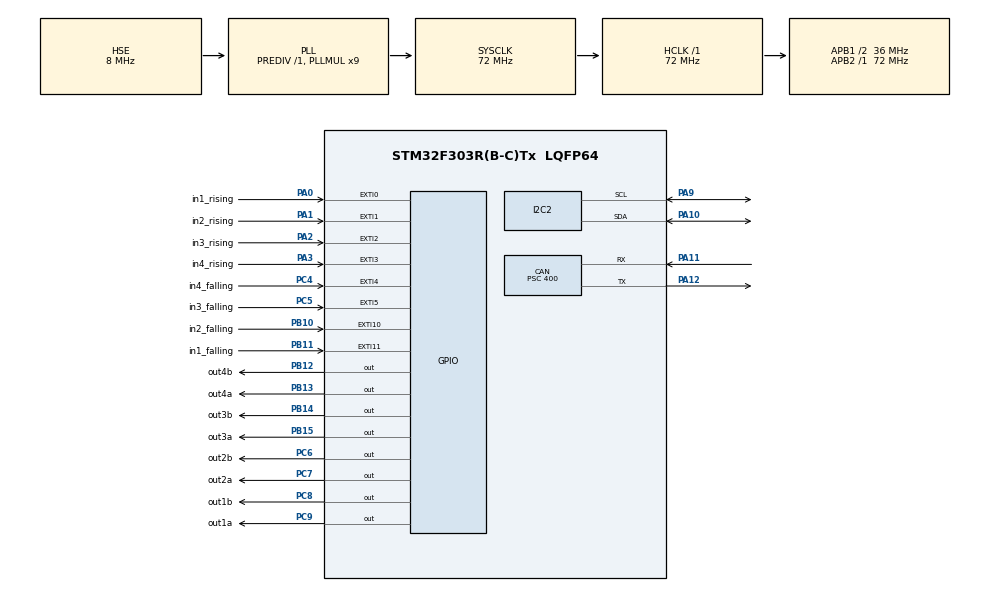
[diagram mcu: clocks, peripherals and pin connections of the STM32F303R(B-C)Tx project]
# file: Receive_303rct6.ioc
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CAN.BS1=CAN_BS1_12TQ
CAN.BS2=CAN_BS2_5TQ
CAN.CalculateTimeQuantum=11111.111111111111
CAN.Prescaler=400
Mcu.Family=STM32F3
Mcu.Name=STM32F303R(B-C)Tx
Mcu.Package=LQFP64
NVIC.EXTI0_IRQn=true\:2\:0\:true\:false\:true\:true
NVIC.EXTI15_10_IRQn=true\:2\:0\:true\:false\:true\:true
NVIC.EXTI1_IRQn=true\:2\:0\:true\:false\:true\:true
NVIC.EXTI2_TSC_IRQn=true\:2\:0\:true\:false\:true\:true
NVIC.EXTI3_IRQn=true\:2\:0\:true\:false\:true\:true
NVIC.EXTI4_IRQn=true\:2\:0\:true\:false\:true\:true
NVIC.EXTI9_5_IRQn=true\:2\:0\:true\:false\:true\:true
NVIC.PriorityGroup=NVIC_PRIORITYGROUP_4
NVIC.TIM1_UP_TIM16_IRQn=true\:1\:0\:true\:false\:true\:true
NVIC.TIM2_IRQn=true\:1\:0\:true\:false\:true\:true
NVIC.USB_LP_CAN_RX0_IRQn=true\:0\:0\:true\:false\:true\:true
PA0.GPIO_Label=in1_rising
PA0.GPIO_ModeDefaultEXTI=GPIO_MODE_IT_RISING
PA0.GPIO_PuPd=GPIO_PULLDOWN
PA0.Signal=GPXTI0
PA1.GPIO_Label=in2_rising
PA1.GPIO_ModeDefaultEXTI=GPIO_MODE_IT_RISING
PA1.GPIO_PuPd=GPIO_PULLDOWN
PA1.Signal=GPXTI1
PA10.Mode=I2C
PA10.Signal=I2C2_SDA
PA11.Mode=Master
PA11.Signal=CAN_RX
PA12.Mode=Master
PA12.Signal=CAN_TX
PA13.Mode=Serial_Wire
PA13.Signal=SYS_JTMS-SWDIO
PA14.Mode=Serial_Wire
PA14.Signal=SYS_JTCK-SWCLK
PA2.GPIO_Label=in3_rising
PA2.GPIO_ModeDefaultEXTI=GPIO_MODE_IT_RISING
PA2.GPIO_PuPd=GPIO_PULLDOWN
PA2.Signal=GPXTI2
PA3.GPIO_Label=in4_rising
PA3.GPIO_ModeDefaultEXTI=GPIO_MODE_IT_RISING
PA3.GPIO_PuPd=GPIO_PULLDOWN
PA3.Signal=GPXTI3
PA9.Mode=I2C
PA9.Signal=I2C2_SCL
PB10.GPIO_Label=in2_falling
PB10.GPIO_ModeDefaultEXTI=GPIO_MODE_IT_FALLING
PB10.Signal=GPXTI10
PB11.GPIO_Label=in1_falling
PB11.GPIO_ModeDefaultEXTI=GPIO_MODE_IT_FALLING
PB11.Signal=GPXTI11
PB12.GPIO_Label=out4b
PB12.GPIO_ModeDefaultOutputPP=GPIO_MODE_OUTPUT_PP
PB12.GPIO_PuPd=GPIO_NOPULL
PB12.GPIO_Speed=GPIO_SPEED_FREQ_HIGH
PB12.PinState=GPIO_PIN_SET
PB12.Signal=GPIO_Output
PB13.GPIO_Label=out4a
PB13.GPIO_ModeDefaultOutputPP=GPIO_MODE_OUTPUT_PP
PB13.GPIO_PuPd=GPIO_NOPULL
PB13.GPIO_Speed=GPIO_SPEED_FREQ_HIGH
PB13.PinState=GPIO_PIN_SET
PB13.Signal=GPIO_Output
PB14.GPIO_Label=out3b
PB14.GPIO_ModeDefaultOutputPP=GPIO_MODE_OUTPUT_PP
PB14.GPIO_PuPd=GPIO_NOPULL
PB14.GPIO_Speed=GPIO_SPEED_FREQ_HIGH
PB14.PinState=GPIO_PIN_SET
PB14.Signal=GPIO_Output
PB15.GPIO_Label=out3a
PB15.GPIO_ModeDefaultOutputPP=GPIO_MODE_OUTPUT_PP
PB15.GPIO_PuPd=GPIO_NOPULL
PB15.GPIO_Speed=GPIO_SPEED_FREQ_HIGH
PB15.PinState=GPIO_PIN_SET
PB15.Signal=GPIO_Output
PC4.GPIO_Label=in4_falling
PC4.GPIO_ModeDefaultEXTI=GPIO_MODE_IT_FALLING
PC4.Signal=GPXTI4
PC5.GPIO_Label=in3_falling
PC5.GPIO_ModeDefaultEXTI=GPIO_MODE_IT_FALLING
PC5.Signal=GPXTI5
PC6.GPIO_Label=out2b
PC6.GPIO_ModeDefaultOutputPP=GPIO_MODE_OUTPUT_PP
PC6.GPIO_PuPd=GPIO_NOPULL
PC6.GPIO_Speed=GPIO_SPEED_FREQ_HIGH
PC6.PinState=GPIO_PIN_SET
PC6.Signal=GPIO_Output
PC7.GPIO_Label=out2a
PC7.GPIO_ModeDefaultOutputPP=GPIO_MODE_OUTPUT_PP
PC7.GPIO_PuPd=GPIO_NOPULL
PC7.GPIO_Speed=GPIO_SPEED_FREQ_HIGH
PC7.PinState=GPIO_PIN_SET
PC7.Signal=GPIO_Output
PC8.GPIO_Label=out1b
PC8.GPIO_ModeDefaultOutputPP=GPIO_MODE_OUTPUT_PP
PC8.GPIO_PuPd=GPIO_NOPULL
PC8.GPIO_Speed=GPIO_SPEED_FREQ_HIGH
PC8.PinState=GPIO_PIN_SET
PC8.Signal=GPIO_Output
PC9.GPIO_Label=out1a
PC9.GPIO_ModeDefaultOutputPP=GPIO_MODE_OUTPUT_PP
PC9.GPIO_PuPd=GPIO_NOPULL
PC9.GPIO_Speed=GPIO_SPEED_FREQ_HIGH
PC9.PinState=GPIO_PIN_SET
PC9.Signal=GPIO_Output
PF0-OSC_IN.Mode=HSE-External-Oscillator
PF0-OSC_IN.Signal=RCC_OSC_IN
PF1-OSC_OUT.Mode=HSE-External-Oscillator
PF1-OSC_OUT.Signal=RCC_OSC_OUT
ProjectManager.HeapSize=0x200
ProjectManager.StackSize=0x400
ProjectManager.TargetToolchain=MDK-ARM V5
RCC.AHBFreq_Value=72000000
RCC.APB1CLKDivider=RCC_HCLK_DIV2
RCC.APB1Freq_Value=36000000
RCC.APB1TimFreq_Value=72000000
RCC.APB2Freq_Value=72000000
RCC.APB2TimFreq_Value=72000000
RCC.CortexFreq_Value=72000000
RCC.HCLKFreq_Value=72000000
RCC.HSE_VALUE=8000000
RCC.HSI_VALUE=8000000
RCC.LSE_VALUE=32768
RCC.PLLMUL=RCC_PLL_MUL9
RCC.PLLSourceVirtual=RCC_PLLSOURCE_HSE
RCC.SYSCLKFreq_VALUE=72000000
RCC.SYSCLKSourceVirtual=RCC_SYSCLKSOURCE_PLLCLK
RCC.USBFreq_Value=72000000
TIM1.Period=79
TIM1.Prescaler=8
TIM2.Period=79
TIM2.Prescaler=8
VP_TIM1_VS_ClockSourceINT.Mode=Internal
VP_TIM2_VS_ClockSourceINT.Mode=Internal
board=Receive_303rct6

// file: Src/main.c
/**
  ******************************************************************************
  * @file           : main.c
  * @brief          : Main program body
  ******************************************************************************
  ** This notice applies to any and all portions of this file
  * that are not between comment pairs USER CODE BEGIN and
  * USER CODE END. Other portions of this file, whether
  * inserted by the user or by software development tools
  * are owned by their respective copyright owners.
  *
  * COPYRIGHT(c) 2019 STMicroelectronics
  *
  * Redistribution and use in source and binary forms, with or without modification,
  * are permitted provided that the following conditions are met:
  *   1. Redistributions of source code must retain the above copyright notice,
  *      this list of conditions and the following disclaimer.
  *   2. Redistributions in binary form must reproduce the above copyright notice,
  *      this list of conditions and the following disclaimer in the documentation
  *      and/or other materials provided with the distribution.
  *   3. Neither the name of STMicroelectronics nor the names of its contributors
  *      may be used to endorse or promote products derived from this software
  *      without specific prior written permission.
  *
  * THIS SOFTWARE IS PROVIDED BY THE COPYRIGHT HOLDERS AND CONTRIBUTORS "AS IS"
  * AND ANY EXPRESS OR IMPLIED WARRANTIES, INCLUDING, BUT NOT LIMITED TO, THE
  * IMPLIED WARRANTIES OF MERCHANTABILITY AND FITNESS FOR A PARTICULAR PURPOSE ARE
  * DISCLAIMED. IN NO EVENT SHALL THE COPYRIGHT HOLDER OR CONTRIBUTORS BE LIABLE
  * FOR ANY DIRECT, INDIRECT, INCIDENTAL, SPECIAL, EXEMPLARY, OR CONSEQUENTIAL
  * DAMAGES (INCLUDING, BUT NOT LIMITED TO, PROCUREMENT OF SUBSTITUTE GOODS OR
  * SERVICES; LOSS OF USE, DATA, OR PROFITS; OR BUSINESS INTERRUPTION) HOWEVER
  * CAUSED AND ON ANY THEORY OF LIABILITY, WHETHER IN CONTRACT, STRICT LIABILITY,
  * OR TORT (INCLUDING NEGLIGENCE OR OTHERWISE) ARISING IN ANY WAY OUT OF THE USE
  * OF THIS SOFTWARE, EVEN IF ADVISED OF THE POSSIBILITY OF SUCH DAMAGE.
  *
  ******************************************************************************
  */
#include "main.h"
#include "stm32f3xx_hal.h"

/* USER CODE BEGIN Includes */
#include "variable.h"

/* USER CODE END Includes */

CAN_HandleTypeDef hcan;

I2C_HandleTypeDef hi2c2;

TIM_HandleTypeDef htim1;
TIM_HandleTypeDef htim2;

/* USER CODE BEGIN PV */
/* Private variables ---------------------------------------------------------*/

/* USER CODE END PV */

void SystemClock_Config(void);
static void MX_GPIO_Init(void);
static void MX_CAN_Init(void);
static void MX_TIM1_Init(void);
static void MX_TIM2_Init(void);
static void MX_I2C2_Init(void);

/* USER CODE BEGIN PFP */
/* Private function prototypes -----------------------------------------------*/
static void CAN_FilterConfig(void);
/* USER CODE END PFP */

int main(void)
{

  /* MCU Configuration----------------------------------------------------------*/

  /* Reset of all peripherals, Initializes the Flash interface and the Systick. */
  HAL_Init();

  /* Configure the system clock */
  SystemClock_Config();

  /* Initialize all configured peripherals */
  MX_GPIO_Init();
  MX_CAN_Init();
  MX_TIM1_Init();
  MX_TIM2_Init();
  MX_I2C2_Init();
  /* USER CODE BEGIN 2 */
	hcan.pTxMsg = &CanTx;
	hcan.pTxMsg->RTR = CAN_RTR_DATA;
	hcan.pTxMsg->IDE = CAN_ID_STD;
  hcan.pRxMsg = &CanRx;

  CAN_FilterConfig();
  if (HAL_CAN_Receive_IT(&hcan, CAN_FIFO0) != HAL_OK)
  {
    Error_Handler();
  }
  HAL_NVIC_DisableIRQ(in1_falling_EXTI_IRQn);
  HAL_NVIC_DisableIRQ(in1_rising_EXTI_IRQn);
  HAL_NVIC_DisableIRQ(in2_falling_EXTI_IRQn);
  HAL_NVIC_DisableIRQ(in2_rising_EXTI_IRQn);
  HAL_NVIC_DisableIRQ(in3_falling_EXTI_IRQn);
  HAL_NVIC_DisableIRQ(in3_rising_EXTI_IRQn);
  HAL_NVIC_DisableIRQ(in4_falling_EXTI_IRQn);
  HAL_NVIC_DisableIRQ(in4_rising_EXTI_IRQn);

	//Get Parameter from EEPROM
	HAL_I2C_Mem_Read(&hi2c2,address_24LC08,0x00,1,buffer_read1,8,100);
	HAL_Delay(10);
	n1_pa = buffer_read1[0];
	n2_pa = buffer_read1[1];
	B_H = buffer_read1[2];
	B_L = buffer_read1[3];
	C_H = buffer_read1[4];
	C_L = buffer_read1[5];
	D_H = buffer_read1[6];
	D_L = buffer_read1[7];

	HAL_I2C_Mem_Read(&hi2c2,address_24LC08,0x20,1,buffer_read2,8,100);
	HAL_Delay(10);
	n1_pb = buffer_read2[0];
	n2_pb = buffer_read2[1];
	B1_H = buffer_read2[2];
	B1_L = buffer_read2[3];
	C1_H = buffer_read2[4];
	C1_L = buffer_read2[5];
	B2_H = buffer_read2[6];
	B2_L = buffer_read2[7];

	HAL_I2C_Mem_Read(&hi2c2,address_24LC08,0x40,1,buffer_read3,5,100);
	HAL_Delay(10);
	D1_H = buffer_read3[0];
	D1_L = buffer_read3[1];
	E_HH = buffer_read3[2];
	E_H = buffer_read3[3];
	E_L = buffer_read3[4];

	HAL_I2C_Mem_Read(&hi2c2,address_24LC08,0x60,1,buffer_read4,5,100);
	HAL_Delay(10);
	D2_H = buffer_read4[0];
	D2_L = buffer_read4[1];
	C2_H = buffer_read4[2];
	C2_L = buffer_read4[3];

	B = (B_H << 8) | B_L;
	C = (C_H << 8) | C_L;
	D = (D_H << 8) | D_L;

	B1 = (B1_H << 8) | B1_L;
	C1 = (C1_H << 8) | C1_L;
	B2 = (B2_H << 8) | B2_L;

	D1 = (D1_H << 8) | D1_L;
	E = (E_HH << 16) | (E_H << 8) | E_L;

	D2 = (D2_H << 8) | D2_L;
	C2 = (C2_H << 8) | C2_L;

  /* USER CODE END 2 */

  /* Infinite loop */
  /* USER CODE BEGIN WHILE */
  while (1)
  {
		//---------------------------------------------------------------------------------Neu ben truyen nhan send_data

		////---------------------------------------------------------------------------------pattern a
    if (can_rx_int1 == 1)
    {
			can_rx_int1 = 0;

      __HAL_GPIO_EXTI_CLEAR_IT(in1_falling_Pin);
      __HAL_GPIO_EXTI_CLEAR_IT(in1_rising_Pin);
      __HAL_GPIO_EXTI_CLEAR_IT(in2_falling_Pin);
      __HAL_GPIO_EXTI_CLEAR_IT(in2_rising_Pin);
      __HAL_GPIO_EXTI_CLEAR_IT(in3_falling_Pin);
      __HAL_GPIO_EXTI_CLEAR_IT(in3_rising_Pin);
      __HAL_GPIO_EXTI_CLEAR_IT(in4_falling_Pin);
      __HAL_GPIO_EXTI_CLEAR_IT(in4_rising_Pin);

      HAL_NVIC_EnableIRQ(in1_falling_EXTI_IRQn);
      HAL_NVIC_EnableIRQ(in1_rising_EXTI_IRQn);
      HAL_NVIC_EnableIRQ(in2_falling_EXTI_IRQn);
      HAL_NVIC_EnableIRQ(in2_rising_EXTI_IRQn);
      HAL_NVIC_EnableIRQ(in3_falling_EXTI_IRQn);
      HAL_NVIC_EnableIRQ(in3_rising_EXTI_IRQn);
      HAL_NVIC_EnableIRQ(in4_falling_EXTI_IRQn);
      HAL_NVIC_EnableIRQ(in4_rising_EXTI_IRQn);

      B = (B_H << 8) | B_L;
      C = (C_H << 8) | C_L;
      D = (D_H << 8) | D_L;

			buffer_write1[0] = n1_pa;
			buffer_write1[1] = n2_pa;
			buffer_write1[2] = B_H;
			buffer_write1[3] = B_L;
			buffer_write1[4] = C_H;
			buffer_write1[5] = C_L;
			buffer_write1[6] = D_H;
			buffer_write1[7] = D_L;
			HAL_I2C_Mem_Write(&hi2c2,address_24LC08,0x00,1,buffer_write1,8,100);
			HAL_Delay(10);

			if(D >= 20)	D = D - 10;
			if(D < 10) D = 10;

			if(D == 0 && n1_pa == 0 && n2_pa == 0)
			{
				HAL_TIM_Base_Stop_IT(&htim1);
				HAL_TIM_Base_Stop_IT(&htim2);
			}
			else
			{
			//Generate Pulse
				HAL_TIM_Base_Start_IT(&htim1);
				HAL_TIM_Base_Stop_IT(&htim2);
			}

    }

		////---------------------------------------------------------------------------------pattern b
    if (can_rx_int2 == 1 && can_rx_int3 == 1 && can_rx_int4 == 1)
    {
			can_rx_int2 = 0;
      can_rx_int3 = 0;
      can_rx_int4 = 0;

      __HAL_GPIO_EXTI_CLEAR_IT(in1_falling_Pin);
      __HAL_GPIO_EXTI_CLEAR_IT(in1_rising_Pin);
      __HAL_GPIO_EXTI_CLEAR_IT(in2_falling_Pin);
      __HAL_GPIO_EXTI_CLEAR_IT(in2_rising_Pin);
      __HAL_GPIO_EXTI_CLEAR_IT(in3_falling_Pin);
      __HAL_GPIO_EXTI_CLEAR_IT(in3_rising_Pin);
      __HAL_GPIO_EXTI_CLEAR_IT(in4_falling_Pin);
      __HAL_GPIO_EXTI_CLEAR_IT(in4_rising_Pin);

      HAL_NVIC_EnableIRQ(in1_falling_EXTI_IRQn);
      HAL_NVIC_EnableIRQ(in1_rising_EXTI_IRQn);
      HAL_NVIC_EnableIRQ(in2_falling_EXTI_IRQn);
      HAL_NVIC_EnableIRQ(in2_rising_EXTI_IRQn);
      HAL_NVIC_EnableIRQ(in3_falling_EXTI_IRQn);
      HAL_NVIC_EnableIRQ(in3_rising_EXTI_IRQn);
      HAL_NVIC_EnableIRQ(in4_falling_EXTI_IRQn);
      HAL_NVIC_EnableIRQ(in4_rising_EXTI_IRQn);

      B1 = (B1_H << 8) | B1_L;
      C1 = (C1_H << 8) | C1_L;
      B2 = (B2_H << 8) | B2_L;
      D1 = (D1_H << 8) | D1_L;
      E = (E_HH << 16) | (E_H << 8) | E_L;
      D2 = (D2_H << 8) | D2_L;
      C2 = (C2_H << 8) | C2_L;

			//write byte to EEPROM
			buffer_write2[0] = n1_pb;
			buffer_write2[1] = n2_pb;
			buffer_write2[2] = B1_H;
			buffer_write2[3] = B1_L;
			buffer_write2[4] = C1_H;
			buffer_write2[5] = C1_L;
			buffer_write2[6] = B2_H;
			buffer_write2[7] = B2_L;
			HAL_I2C_Mem_Write(&hi2c2,address_24LC08,0x20,1,buffer_write2,8,100);
			HAL_Delay(10);

			buffer_write3[0] = D1_H;
			buffer_write3[1] = D1_L;
			buffer_write3[2] = E_HH;
			buffer_write3[3] = E_H;
			buffer_write3[4] = E_L;
			HAL_I2C_Mem_Write(&hi2c2,address_24LC08,0x40,1,buffer_write3,5,100);
			HAL_Delay(10);

			buffer_write4[0] = D2_H;
			buffer_write4[1] = D2_L;
			buffer_write4[2] = C2_H;
			buffer_write4[3] = C2_L;
			HAL_I2C_Mem_Write(&hi2c2,address_24LC08,0x60,1,buffer_write4,5,100);
			HAL_Delay(10);

			//Calibration
			if(D1 >= 10)	D1 = D1 - 10;
			if(B1 >= 20) B1 = B1 - 10;

			if(n1_pb == 0) C1 = 0;
			if(C1 == 0) n1_pb = 0;
			if(n2_pb == 0) C2 = 0;
			if(C2 == 0) n2_pb = 0;
			if(n1_pb == 0 && n2_pb == 0 && B1 == 0 && C1 == 0 && D1 == 0 && E == 0 && D2 == 0 && C2 == 0)	D1 = 100;

			//Generate Pulse
			HAL_TIM_Base_Start_IT(&htim2);
			HAL_TIM_Base_Stop_IT(&htim1);

    }

		////---------------------------------------------------------------------------------Neu ben truyen an request data
		if(flag_request_data == 1)
		{
			flag_request_data = 0;

			if(flag_choose_mode == pattern_a)
			{
				CanTx.StdId = 0x201;
				CanTx.DLC = 8;
				CanTx.Data[0] = n1_pa;
				CanTx.Data[1] = n2_pa;
				CanTx.Data[2] = B_H;
				CanTx.Data[3] = B_L;
				CanTx.Data[4] = C_H;
				CanTx.Data[5] = C_L;
				CanTx.Data[6] = D_H;
				CanTx.Data[7] = D_L;
				HAL_CAN_Transmit(&hcan, 10);
				HAL_Delay(10);
			}

			if(flag_choose_mode == pattern_b)
			{
				CanTx.StdId = 0x202;
				CanTx.DLC = 8;
				CanTx.Data[0] = n1_pb;
				CanTx.Data[1] = n2_pb;
				CanTx.Data[2] = B1_H;
				CanTx.Data[3] = B1_L;
				CanTx.Data[4] = C1_H;
				CanTx.Data[5] = C1_L;
				CanTx.Data[6] = B2_H;
				CanTx.Data[7] = B2_L;
				HAL_CAN_Transmit(&hcan, 10);
				HAL_Delay(10);

				CanTx.StdId = 0x203;
				CanTx.DLC = 5;
				CanTx.Data[0] = D1_H;
				CanTx.Data[1] = D1_L;
				CanTx.Data[2] = E_HH;
				CanTx.Data[3] = E_H;
				CanTx.Data[4] = E_L;
				HAL_CAN_Transmit(&hcan, 10);
				HAL_Delay(10);

				CanTx.StdId = 0x204;
				CanTx.DLC = 4;
				CanTx.Data[0] = D2_H;
				CanTx.Data[1] = D2_L;
				CanTx.Data[2] = C2_H;
				CanTx.Data[3] = C2_L;
				HAL_CAN_Transmit(&hcan, 10);
				HAL_Delay(10);
			}
		}

  /* USER CODE END WHILE */

  }

}

void SystemClock_Config(void)
{

  RCC_OscInitTypeDef RCC_OscInitStruct;
  RCC_ClkInitTypeDef RCC_ClkInitStruct;
  RCC_PeriphCLKInitTypeDef PeriphClkInit;

    /**Initializes the CPU, AHB and APB busses clocks
    */
  RCC_OscInitStruct.OscillatorType = RCC_OSCILLATORTYPE_HSI|RCC_OSCILLATORTYPE_HSE;
  RCC_OscInitStruct.HSEState = RCC_HSE_ON;
  RCC_OscInitStruct.HSEPredivValue = RCC_HSE_PREDIV_DIV1;
  RCC_OscInitStruct.HSIState = RCC_HSI_ON;
  RCC_OscInitStruct.HSICalibrationValue = 16;
  RCC_OscInitStruct.PLL.PLLState = RCC_PLL_ON;
  RCC_OscInitStruct.PLL.PLLSource = RCC_PLLSOURCE_HSE;
  RCC_OscInitStruct.PLL.PLLMUL = RCC_PLL_MUL9;
  if (HAL_RCC_OscConfig(&RCC_OscInitStruct) != HAL_OK)
  {
    _Error_Handler(__FILE__, __LINE__);
  }

    /**Initializes the CPU, AHB and APB busses clocks
    */
  RCC_ClkInitStruct.ClockType = RCC_CLOCKTYPE_HCLK|RCC_CLOCKTYPE_SYSCLK
                              |RCC_CLOCKTYPE_PCLK1|RCC_CLOCKTYPE_PCLK2;
  RCC_ClkInitStruct.SYSCLKSource = RCC_SYSCLKSOURCE_PLLCLK;
  RCC_ClkInitStruct.AHBCLKDivider = RCC_SYSCLK_DIV1;
  RCC_ClkInitStruct.APB1CLKDivider = RCC_HCLK_DIV2;
  RCC_ClkInitStruct.APB2CLKDivider = RCC_HCLK_DIV1;

  if (HAL_RCC_ClockConfig(&RCC_ClkInitStruct, FLASH_LATENCY_2) != HAL_OK)
  {
    _Error_Handler(__FILE__, __LINE__);
  }

  PeriphClkInit.PeriphClockSelection = RCC_PERIPHCLK_I2C2|RCC_PERIPHCLK_TIM1;
  PeriphClkInit.I2c2ClockSelection = RCC_I2C2CLKSOURCE_HSI;
  PeriphClkInit.Tim1ClockSelection = RCC_TIM1CLK_HCLK;
  if (HAL_RCCEx_PeriphCLKConfig(&PeriphClkInit) != HAL_OK)
  {
    _Error_Handler(__FILE__, __LINE__);
  }

    /**Configure the Systick interrupt time
    */
  HAL_SYSTICK_Config(HAL_RCC_GetHCLKFreq()/1000);

    /**Configure the Systick
    */
  HAL_SYSTICK_CLKSourceConfig(SYSTICK_CLKSOURCE_HCLK);

  /* SysTick_IRQn interrupt configuration */
  HAL_NVIC_SetPriority(SysTick_IRQn, 0, 0);
}

/* CAN init function */
static void MX_CAN_Init(void)
{

  hcan.Instance = CAN;
  hcan.Init.Prescaler = 400;
  hcan.Init.Mode = CAN_MODE_NORMAL;
  hcan.Init.SJW = CAN_SJW_1TQ;
  hcan.Init.BS1 = CAN_BS1_12TQ;
  hcan.Init.BS2 = CAN_BS2_5TQ;
  hcan.Init.TTCM = DISABLE;
  hcan.Init.ABOM = DISABLE;
  hcan.Init.AWUM = DISABLE;
  hcan.Init.NART = DISABLE;
  hcan.Init.RFLM = DISABLE;
  hcan.Init.TXFP = DISABLE;
  if (HAL_CAN_Init(&hcan) != HAL_OK)
  {
    _Error_Handler(__FILE__, __LINE__);
  }

}

/* I2C2 init function */
static void MX_I2C2_Init(void)
{

  hi2c2.Instance = I2C2;
  hi2c2.Init.Timing = 0x2000090E;
  hi2c2.Init.OwnAddress1 = 0;
  hi2c2.Init.AddressingMode = I2C_ADDRESSINGMODE_7BIT;
  hi2c2.Init.DualAddressMode = I2C_DUALADDRESS_DISABLE;
  hi2c2.Init.OwnAddress2 = 0;
  hi2c2.Init.OwnAddress2Masks = I2C_OA2_NOMASK;
  hi2c2.Init.GeneralCallMode = I2C_GENERALCALL_DISABLE;
  hi2c2.Init.NoStretchMode = I2C_NOSTRETCH_DISABLE;
  if (HAL_I2C_Init(&hi2c2) != HAL_OK)
  {
    _Error_Handler(__FILE__, __LINE__);
  }

    /**Configure Analogue filter
    */
  if (HAL_I2CEx_ConfigAnalogFilter(&hi2c2, I2C_ANALOGFILTER_ENABLE) != HAL_OK)
  {
    _Error_Handler(__FILE__, __LINE__);
  }

    /**Configure Digital filter
    */
  if (HAL_I2CEx_ConfigDigitalFilter(&hi2c2, 0) != HAL_OK)
  {
    _Error_Handler(__FILE__, __LINE__);
  }

}

/* TIM1 init function */
static void MX_TIM1_Init(void)
{

  TIM_ClockConfigTypeDef sClockSourceConfig;
  TIM_MasterConfigTypeDef sMasterConfig;

  htim1.Instance = TIM1;
  htim1.Init.Prescaler = 8;
  htim1.Init.CounterMode = TIM_COUNTERMODE_UP;
  htim1.Init.Period = 79;
  htim1.Init.ClockDivision = TIM_CLOCKDIVISION_DIV1;
  htim1.Init.RepetitionCounter = 0;
  htim1.Init.AutoReloadPreload = TIM_AUTORELOAD_PRELOAD_DISABLE;
  if (HAL_TIM_Base_Init(&htim1) != HAL_OK)
  {
    _Error_Handler(__FILE__, __LINE__);
  }

  sClockSourceConfig.ClockSource = TIM_CLOCKSOURCE_INTERNAL;
  if (HAL_TIM_ConfigClockSource(&htim1, &sClockSourceConfig) != HAL_OK)
  {
    _Error_Handler(__FILE__, __LINE__);
  }

  sMasterConfig.MasterOutputTrigger = TIM_TRGO_RESET;
  sMasterConfig.MasterOutputTrigger2 = TIM_TRGO2_RESET;
  sMasterConfig.MasterSlaveMode = TIM_MASTERSLAVEMODE_DISABLE;
  if (HAL_TIMEx_MasterConfigSynchronization(&htim1, &sMasterConfig) != HAL_OK)
  {
    _Error_Handler(__FILE__, __LINE__);
  }

}

/* TIM2 init function */
static void MX_TIM2_Init(void)
{

  TIM_ClockConfigTypeDef sClockSourceConfig;
  TIM_MasterConfigTypeDef sMasterConfig;

  htim2.Instance = TIM2;
  htim2.Init.Prescaler = 8;
  htim2.Init.CounterMode = TIM_COUNTERMODE_UP;
  htim2.Init.Period = 79;
  htim2.Init.ClockDivision = TIM_CLOCKDIVISION_DIV1;
  htim2.Init.AutoReloadPreload = TIM_AUTORELOAD_PRELOAD_DISABLE;
  if (HAL_TIM_Base_Init(&htim2) != HAL_OK)
  {
    _Error_Handler(__FILE__, __LINE__);
  }

  sClockSourceConfig.ClockSource = TIM_CLOCKSOURCE_INTERNAL;
  if (HAL_TIM_ConfigClockSource(&htim2, &sClockSourceConfig) != HAL_OK)
  {
    _Error_Handler(__FILE__, __LINE__);
  }

  sMasterConfig.MasterOutputTrigger = TIM_TRGO_RESET;
  sMasterConfig.MasterSlaveMode = TIM_MASTERSLAVEMODE_DISABLE;
  if (HAL_TIMEx_MasterConfigSynchronization(&htim2, &sMasterConfig) != HAL_OK)
  {
    _Error_Handler(__FILE__, __LINE__);
  }

}

/** Configure pins as
        * Analog
        * Input
        * Output
        * EVENT_OUT
        * EXTI
*/
static void MX_GPIO_Init(void)
{

  GPIO_InitTypeDef GPIO_InitStruct;

  /* GPIO Ports Clock Enable */
  __HAL_RCC_GPIOF_CLK_ENABLE();
  __HAL_RCC_GPIOA_CLK_ENABLE();
  __HAL_RCC_GPIOC_CLK_ENABLE();
  __HAL_RCC_GPIOB_CLK_ENABLE();

  /*Configure GPIO pin Output Level */
  HAL_GPIO_WritePin(GPIOB, out4b_Pin|out4a_Pin|out3b_Pin|out3a_Pin, GPIO_PIN_SET);

  /*Configure GPIO pin Output Level */
  HAL_GPIO_WritePin(GPIOC, out2b_Pin|out2a_Pin|out1b_Pin|out1a_Pin, GPIO_PIN_SET);

  /*Configure GPIO pins : in1_rising_Pin in2_rising_Pin in3_rising_Pin in4_rising_Pin */
  GPIO_InitStruct.Pin = in1_rising_Pin|in2_rising_Pin|in3_rising_Pin|in4_rising_Pin;
  GPIO_InitStruct.Mode = GPIO_MODE_IT_RISING;
  GPIO_InitStruct.Pull = GPIO_PULLDOWN;
  HAL_GPIO_Init(GPIOA, &GPIO_InitStruct);

  /*Configure GPIO pins : in4_falling_Pin in3_falling_Pin */
  GPIO_InitStruct.Pin = in4_falling_Pin|in3_falling_Pin;
  GPIO_InitStruct.Mode = GPIO_MODE_IT_FALLING;
  GPIO_InitStruct.Pull = GPIO_NOPULL;
  HAL_GPIO_Init(GPIOC, &GPIO_InitStruct);

  /*Configure GPIO pins : in2_falling_Pin in1_falling_Pin */
  GPIO_InitStruct.Pin = in2_falling_Pin|in1_falling_Pin;
  GPIO_InitStruct.Mode = GPIO_MODE_IT_FALLING;
  GPIO_InitStruct.Pull = GPIO_NOPULL;
  HAL_GPIO_Init(GPIOB, &GPIO_InitStruct);

  /*Configure GPIO pins : out4b_Pin out4a_Pin out3b_Pin out3a_Pin */
  GPIO_InitStruct.Pin = out4b_Pin|out4a_Pin|out3b_Pin|out3a_Pin;
  GPIO_InitStruct.Mode = GPIO_MODE_OUTPUT_PP;
  GPIO_InitStruct.Pull = GPIO_NOPULL;
  GPIO_InitStruct.Speed = GPIO_SPEED_FREQ_HIGH;
  HAL_GPIO_Init(GPIOB, &GPIO_InitStruct);

  /*Configure GPIO pins : out2b_Pin out2a_Pin out1b_Pin out1a_Pin */
  GPIO_InitStruct.Pin = out2b_Pin|out2a_Pin|out1b_Pin|out1a_Pin;
  GPIO_InitStruct.Mode = GPIO_MODE_OUTPUT_PP;
  GPIO_InitStruct.Pull = GPIO_NOPULL;
  GPIO_InitStruct.Speed = GPIO_SPEED_FREQ_HIGH;
  HAL_GPIO_Init(GPIOC, &GPIO_InitStruct);

  /* EXTI interrupt init*/
  HAL_NVIC_SetPriority(EXTI0_IRQn, 2, 0);
  //HAL_NVIC_EnableIRQ(EXTI0_IRQn);

  HAL_NVIC_SetPriority(EXTI1_IRQn, 2, 0);
  //HAL_NVIC_EnableIRQ(EXTI1_IRQn);

  HAL_NVIC_SetPriority(EXTI2_TSC_IRQn, 2, 0);
  //HAL_NVIC_EnableIRQ(EXTI2_TSC_IRQn);

  HAL_NVIC_SetPriority(EXTI3_IRQn, 2, 0);
  //HAL_NVIC_EnableIRQ(EXTI3_IRQn);

  HAL_NVIC_SetPriority(EXTI4_IRQn, 2, 0);
  //HAL_NVIC_EnableIRQ(EXTI4_IRQn);

  HAL_NVIC_SetPriority(EXTI9_5_IRQn, 2, 0);
  //HAL_NVIC_EnableIRQ(EXTI9_5_IRQn);

  HAL_NVIC_SetPriority(EXTI15_10_IRQn, 2, 0);
  //HAL_NVIC_EnableIRQ(EXTI15_10_IRQn);

}

/* USER CODE BEGIN 4 */
//---------------------------------------------------------------------------------------------------Init Can Filter
static void CAN_FilterConfig(void)
{
  sFilterConfig.BankNumber = 14;
  sFilterConfig.FilterActivation = ENABLE;
  sFilterConfig.FilterFIFOAssignment = CAN_FILTER_FIFO0;
  sFilterConfig.FilterIdHigh = 0;
  sFilterConfig.FilterIdLow = 0;
  sFilterConfig.FilterMaskIdHigh = 0;
  sFilterConfig.FilterMaskIdLow = 0;
  sFilterConfig.FilterMode = CAN_FILTERMODE_IDMASK;
  sFilterConfig.FilterNumber = 0;
  sFilterConfig.FilterScale = CAN_FILTERSCALE_32BIT;
  if (HAL_CAN_ConfigFilter(&hcan, &sFilterConfig) != HAL_OK)
  {
    Error_Handler();
  }
}

void RxIntEnable(CAN_HandleTypeDef *CanHandle)
{
	if(CanHandle->State == HAL_CAN_STATE_BUSY_TX)
	  CanHandle->State = HAL_CAN_STATE_BUSY_TX_RX0;
	else
	{
	  CanHandle->State = HAL_CAN_STATE_BUSY_RX0;

		/* Set CAN error code to none */
		CanHandle->ErrorCode = HAL_CAN_ERROR_NONE;

		/* Enable Error warning Interrupt */
		__HAL_CAN_ENABLE_IT(CanHandle, CAN_IT_EWG);

		/* Enable Error passive Interrupt */
		__HAL_CAN_ENABLE_IT(CanHandle, CAN_IT_EPV);

		/* Enable Bus-off Interrupt */
		__HAL_CAN_ENABLE_IT(CanHandle, CAN_IT_BOF);

		/* Enable Last error code Interrupt */
		__HAL_CAN_ENABLE_IT(CanHandle, CAN_IT_LEC);

		/* Enable Error Interrupt */
		__HAL_CAN_ENABLE_IT(CanHandle, CAN_IT_ERR);
	}

	// Enable FIFO 0 message pending Interrupt
	__HAL_CAN_ENABLE_IT(CanHandle, CAN_IT_FMP0);
}

//---------------------------------------------------------------------------------------------------Can Receive Interrupt
void HAL_CAN_RxCpltCallback(CAN_HandleTypeDef* CanHandle)
{
  if (CanHandle->pRxMsg->StdId == 0x101)
  {
    can_rx_int1 = 1;
    n1_pa = CanHandle->pRxMsg->Data[0];
    n2_pa = CanHandle->pRxMsg->Data[1];
    B_H = CanHandle->pRxMsg->Data[2];
    B_L = CanHandle->pRxMsg->Data[3];
    C_H = CanHandle->pRxMsg->Data[4];
    C_L = CanHandle->pRxMsg->Data[5];
    D_H = CanHandle->pRxMsg->Data[6];
    D_L = CanHandle->pRxMsg->Data[7];
  }
  if (CanHandle->pRxMsg->StdId == 0x102)
  {
    can_rx_int2 = 1;
		n1_pb = CanHandle->pRxMsg->Data[0];
    n2_pb = CanHandle->pRxMsg->Data[1];
    B1_H = CanHandle->pRxMsg->Data[2];
    B1_L = CanHandle->pRxMsg->Data[3];
    C1_H = CanHandle->pRxMsg->Data[4];
    C1_L = CanHandle->pRxMsg->Data[5];
    B2_H = CanHandle->pRxMsg->Data[6];
    B2_L = CanHandle->pRxMsg->Data[7];
  }
  if (CanHandle->pRxMsg->StdId == 0x103)
  {
    can_rx_int3 = 1;
    D1_H = CanHandle->pRxMsg->Data[0];
    D1_L = CanHandle->pRxMsg->Data[1];
    E_HH = CanHandle->pRxMsg->Data[2];
    E_H = CanHandle->pRxMsg->Data[3];
    E_L = CanHandle->pRxMsg->Data[4];
  }
  if (CanHandle->pRxMsg->StdId == 0x104)
  {
    can_rx_int4 = 1;
    D2_H = CanHandle->pRxMsg->Data[0];
    D2_L = CanHandle->pRxMsg->Data[1];
    C2_H = CanHandle->pRxMsg->Data[2];
    C2_L = CanHandle->pRxMsg->Data[3];
  }
	if(CanHandle->pRxMsg->StdId == 0x10A)
	{
		flag_request_data = 1;
		flag_choose_mode = CanHandle->pRxMsg->Data[0];
	}
  RxIntEnable(&hcan);
}
//---------------------------------------------------------------------------------------------------External Interrupt
void HAL_GPIO_EXTI_Callback(uint16_t GPIO_Pin)
{
  if (GPIO_Pin == in1_rising_Pin)
  {
		HAL_GPIO_WritePin(out1a_GPIO_Port, out1a_Pin, 0);

		if(flag_choose_mode == pattern_a && D == 0)
			HAL_GPIO_WritePin(out1b_GPIO_Port, out1b_Pin, 0);

    flag_in1_rising_a_tim1 = 1;
    flag_in1_rising_b_tim1 = 1;
    flag_in1_rising_a_tim2 = 1;
    flag_in1_rising_b_tim2 = 1;
  }
  if (GPIO_Pin == in1_falling_Pin)
  {
    HAL_GPIO_WritePin(out1a_GPIO_Port, out1a_Pin, 1);

		if(flag_choose_mode == pattern_a && D == 0)
			HAL_GPIO_WritePin(out1b_GPIO_Port, out1b_Pin, 1);

    flag_in1_falling_a_tim1 = 1;
    flag_in1_falling_b_tim1 = 1;
    flag_in1_falling_a_tim2 = 1;
    flag_in1_falling_b_tim2 = 1;
  }
  if (GPIO_Pin == in2_rising_Pin)
  {
    HAL_GPIO_WritePin(out2a_GPIO_Port, out2a_Pin, 0);

		if(flag_choose_mode == pattern_a && D == 0)
			HAL_GPIO_WritePin(out2b_GPIO_Port, out2b_Pin, 0);

    flag_in2_rising_a_tim1 = 1;
    flag_in2_rising_b_tim1 = 1;
    flag_in2_rising_a_tim2 = 1;
    flag_in2_rising_b_tim2 = 1;
  }
  if (GPIO_Pin == in2_falling_Pin)
  {
		HAL_GPIO_WritePin(out2a_GPIO_Port, out2a_Pin, 1);

		if(flag_choose_mode == pattern_a && D == 0)
			HAL_GPIO_WritePin(out2b_GPIO_Port, out2b_Pin, 1);

    flag_in2_falling_a_tim1 = 1;
    flag_in2_falling_b_tim1 = 1;
    flag_in2_falling_a_tim2 = 1;
    flag_in2_falling_b_tim2 = 1;
  }
  if (GPIO_Pin == in3_rising_Pin)
  {
		HAL_GPIO_WritePin(out3a_GPIO_Port, out3a_Pin, 0);

		if(flag_choose_mode == pattern_a && D == 0)
			HAL_GPIO_WritePin(out3b_GPIO_Port, out3b_Pin, 0);

    flag_in3_rising_a_tim1 = 1;
    flag_in3_rising_b_tim1 = 1;
    flag_in3_rising_a_tim2 = 1;
    flag_in3_rising_b_tim2 = 1;

  }
  if (GPIO_Pin == in3_falling_Pin)
  {
		HAL_GPIO_WritePin(out3a_GPIO_Port, out3a_Pin, 1);

		if(flag_choose_mode == pattern_a && D == 0)
			HAL_GPIO_WritePin(out3b_GPIO_Port, out3b_Pin, 1);

    flag_in3_falling_a_tim1 = 1;
    flag_in3_falling_b_tim1 = 1;
    flag_in3_falling_a_tim2 = 1;
    flag_in3_falling_b_tim2 = 1;

  }
  if (GPIO_Pin == in4_rising_Pin)
  {
		HAL_GPIO_WritePin(out4a_GPIO_Port, out4a_Pin, 0);

		if(flag_choose_mode == pattern_a && D == 0)
			HAL_GPIO_WritePin(out4b_GPIO_Port, out4b_Pin, 0);

    flag_in4_rising_a_tim1 = 1;
    flag_in4_rising_b_tim1 = 1;
    flag_in4_rising_a_tim2 = 1;
    flag_in4_rising_b_tim2 = 1;

  }
  if (GPIO_Pin == in4_falling_Pin)
  {
		HAL_GPIO_WritePin(out4a_GPIO_Port, out4a_Pin, 1);

		if(flag_choose_mode == pattern_a && D == 0)
			HAL_GPIO_WritePin(out4b_GPIO_Port, out4b_Pin, 1);

    flag_in4_falling_a_tim1 = 1;
    flag_in4_falling_b_tim1 = 1;
    flag_in4_falling_a_tim2 = 1;
    flag_in4_falling_b_tim2 = 1;

  }
}
//---------------------------------------------------------------------------------------------------Timer Interrupt
void HAL_TIM_PeriodElapsedCallback(TIM_HandleTypeDef *htim)
{
  //--------------------------------------------------------------------------Timer 1
  if (htim->Instance == TIM1)
  {
    //-----------------------------------------------------------channel 1
    //------------------------------------------output 1a
    if (flag_in1_falling_a_tim1 == 1)
    {
      if (counter_out1a_tim1 < B / 10)
      {
        HAL_GPIO_WritePin(out1a_GPIO_Port, out1a_Pin, 1);
      }
      if (counter_out1a_tim1 >= B / 10 && counter_out1a_tim1 < (B + C) / 10)
      {
        HAL_GPIO_WritePin(out1a_GPIO_Port, out1a_Pin, 0);
      }
      if (counter_out1a_tim1 == (B + C) / 10 || B == 0 || C == 0)
      {
        counter_out1a_tim1 = 0;
        HAL_GPIO_WritePin(out1a_GPIO_Port, out1a_Pin, 1);
        n1_times_tim1_in1++;
      }
      counter_out1a_tim1++;
      if (n1_times_tim1_in1 == n1_pa||n1_pa == 0)
      {
        counter_out1a_tim1 = 0;
        n1_times_tim1_in1 = 0;
        flag_in1_falling_a_tim1 = 0;
      }
    }
    //------------------------------------------output 1b //
    if (flag_in1_rising_b_tim1 == 1 && D!=0)
    {
      if (counter_out1b_tim1_before < D / 10)
      {
        HAL_GPIO_WritePin(out1b_GPIO_Port, out1b_Pin, 1);
      }
      if (counter_out1b_tim1_before == D / 10)
      {
        HAL_GPIO_WritePin(out1b_GPIO_Port, out1b_Pin, 0);
        counter_out1b_tim1_before = UINT16_MAX;
        flag_in1_rising_b_tim1 = 0;
      }
      counter_out1b_tim1_before++;
    }
    if (flag_in1_falling_b_tim1 == 1&& D!=0)
    {
      if (counter_out1b_tim1_after < D / 10)
      {
        HAL_GPIO_WritePin(out1b_GPIO_Port, out1b_Pin, 0);
      }
      if (counter_out1b_tim1_after >= D / 10 && counter_out1b_tim1_after < (D + B) / 10)
      {
        HAL_GPIO_WritePin(out1b_GPIO_Port, out1b_Pin, 1);
      }
      if (counter_out1b_tim1_after >= (D + B) / 10 && counter_out1b_tim1_after < (D + B + C) / 10)
      {
        HAL_GPIO_WritePin(out1b_GPIO_Port, out1b_Pin, 0);
      }
      if (counter_out1b_tim1_after == (D + B + C) / 10)
      {
        counter_out1b_tim1_after = D / 10;
        HAL_GPIO_WritePin(out1b_GPIO_Port, out1b_Pin, 1);
        n2_times_tim1_in1++;
      }
      counter_out1b_tim1_after++;
      if ((n2_times_tim1_in1 == n2_pa && n2_pa > 0)||(n2_pa == 0 && counter_out1b_tim1_after == D/ 10))
      {
				HAL_GPIO_WritePin(out1b_GPIO_Port, out1b_Pin, 1);
        counter_out1b_tim1_after = 0;
        n2_times_tim1_in1 = 0;
        flag_in1_falling_b_tim1 = 0;
      }
    }
    //-----------------------------------------------------------channel 2
    //------------------------------------------output 2a
    if (flag_in2_falling_a_tim1 == 1)
    {
      if (counter_out2a_tim1 < B / 10)
      {
        HAL_GPIO_WritePin(out2a_GPIO_Port, out2a_Pin, 1);
      }
      if (counter_out2a_tim1 >= B / 10 && counter_out2a_tim1 < (B + C) / 10)
      {
        HAL_GPIO_WritePin(out2a_GPIO_Port, out2a_Pin, 0);
      }
      if (counter_out2a_tim1 == (B + C) / 10|| B == 0 || C == 0)
      {
        counter_out2a_tim1 = 0;
        HAL_GPIO_WritePin(out2a_GPIO_Port, out2a_Pin, 1);
        n1_times_tim1_in2++;
      }
      counter_out2a_tim1++;
      if (n1_times_tim1_in2 == n1_pa||n1_pa == 0)
      {
        counter_out2a_tim1 = 0;
        n1_times_tim1_in2 = 0;
        flag_in2_falling_a_tim1 = 0;
      }
    }
    //------------------------------------------output 2b
    if (flag_in2_rising_b_tim1 == 1&& D!=0)
    {
      if (counter_out2b_tim1_before < D / 10)
      {
        HAL_GPIO_WritePin(out2b_GPIO_Port, out2b_Pin, 1);
      }
      if (counter_out2b_tim1_before == D / 10)
      {
        HAL_GPIO_WritePin(out2b_GPIO_Port, out2b_Pin, 0);
        counter_out2b_tim1_before = UINT16_MAX;
        flag_in2_rising_b_tim1 = 0;
      }
      counter_out2b_tim1_before++;
    }
    if (flag_in2_falling_b_tim1 == 1&& D!=0)
    {
      if (counter_out2b_tim1_after < D / 10)
      {
        HAL_GPIO_WritePin(out2b_GPIO_Port, out2b_Pin, 0);
      }
      if (counter_out2b_tim1_after >= D / 10 && counter_out2b_tim1_after < (D + B) / 10)
      {
        HAL_GPIO_WritePin(out2b_GPIO_Port, out2b_Pin, 1);
      }
      if (counter_out2b_tim1_after >= (D + B) / 10 && counter_out2b_tim1_after < (D + B + C) / 10)
      {
        HAL_GPIO_WritePin(out2b_GPIO_Port, out2b_Pin, 0);
      }
      if (counter_out2b_tim1_after == (D + B + C) / 10)
      {
       counter_out2b_tim1_after = D / 10;
        HAL_GPIO_WritePin(out2b_GPIO_Port, out2b_Pin, 1);
        n2_times_tim1_in2++;
      }
      counter_out2b_tim1_after++;
      if ((n2_times_tim1_in2 == n2_pa && n2_pa > 0)||(n2_pa == 0 && counter_out2b_tim1_after == D/ 10))
      {
				HAL_GPIO_WritePin(out2b_GPIO_Port, out2b_Pin, 1);
        counter_out2b_tim1_after = 0;
        n2_times_tim1_in2 = 0;
        flag_in2_falling_b_tim1 = 0;
      }
    }
    //-----------------------------------------------------------channel 3
    //------------------------------------------output 3a
    if (flag_in3_falling_a_tim1 == 1)
    {
      if (counter_out3a_tim1 < B / 10)
      {
        HAL_GPIO_WritePin(out3a_GPIO_Port, out3a_Pin, 1);
      }
      if (counter_out3a_tim1 >= B / 10 && counter_out3a_tim1 < (B + C) / 10)
      {
        HAL_GPIO_WritePin(out3a_GPIO_Port, out3a_Pin, 0);
      }
      if (counter_out3a_tim1 == (B + C) / 10|| B == 0 || C == 0)
      {
        counter_out3a_tim1 = 0;
        HAL_GPIO_WritePin(out3a_GPIO_Port, out3a_Pin, 1);
        n1_times_tim1_in3++;
      }
      counter_out3a_tim1++;
      if (n1_times_tim1_in3 == n1_pa||n1_pa == 0)
      {
        counter_out3a_tim1 = 0;
        n1_times_tim1_in3 = 0;
        flag_in3_falling_a_tim1 = 0;
      }
    }
    //------------------------------------------output 3b
    if (flag_in3_rising_b_tim1 == 1&& D!=0)
    {
      if (counter_out3b_tim1_before < D / 10)
      {
        HAL_GPIO_WritePin(out3b_GPIO_Port, out3b_Pin, 1);
      }
      if (counter_out3b_tim1_before == D / 10)
      {
        HAL_GPIO_WritePin(out3b_GPIO_Port, out3b_Pin, 0);
        counter_out3b_tim1_before = UINT16_MAX;
        flag_in3_rising_b_tim1 = 0;
      }
      counter_out3b_tim1_before++;
    }
    if (flag_in3_falling_b_tim1 == 1&& D!=0)
    {
      if (counter_out3b_tim1_after < D / 10)
      {
        HAL_GPIO_WritePin(out3b_GPIO_Port, out3b_Pin, 0);
      }
      if (counter_out3b_tim1_after >= D / 10 && counter_out3b_tim1_after < (D + B) / 10)
      {
        HAL_GPIO_WritePin(out3b_GPIO_Port, out3b_Pin, 1);
      }
      if (counter_out3b_tim1_after >= (D + B) / 10 && counter_out3b_tim1_after < (D + B + C) / 10)
      {
        HAL_GPIO_WritePin(out3b_GPIO_Port, out3b_Pin, 0);
      }
      if (counter_out3b_tim1_after == (D + B + C) / 10)
      {
        counter_out3b_tim1_after = D / 10;
        HAL_GPIO_WritePin(out3b_GPIO_Port, out3b_Pin, 1);
        n2_times_tim1_in3++;
      }
      counter_out3b_tim1_after++;
      if ((n2_times_tim1_in3 == n2_pa && n2_pa > 0)||(n2_pa == 0 && counter_out3b_tim1_after == D/ 10))
      {
				HAL_GPIO_WritePin(out3b_GPIO_Port, out3b_Pin, 1);
        counter_out3b_tim1_after = 0;
        n2_times_tim1_in3 = 0;
        flag_in3_falling_b_tim1 = 0;
      }
    }
    //-----------------------------------------------------------channel 4
    //------------------------------------------output 4a
    if (flag_in4_falling_a_tim1 == 1)
    {
      if (counter_out4a_tim1 < B / 10)
      {
        HAL_GPIO_WritePin(out4a_GPIO_Port, out4a_Pin, 1);
      }
      if (counter_out4a_tim1 >= B / 10 && counter_out4a_tim1 < (B + C) / 10)
      {
        HAL_GPIO_WritePin(out4a_GPIO_Port, out4a_Pin, 0);
      }
      if (counter_out4a_tim1 == (B + C) / 10|| B == 0 || C == 0)
      {
        counter_out4a_tim1 = 0;
        HAL_GPIO_WritePin(out4a_GPIO_Port, out4a_Pin, 1);
        n1_times_tim1_in4++;
      }
      counter_out4a_tim1++;
      if (n1_times_tim1_in4 == n1_pa||n1_pa == 0)
      {
        counter_out4a_tim1 = 0;
        n1_times_tim1_in4 = 0;
        flag_in4_falling_a_tim1 = 0;
      }
    }
    //------------------------------------------output 4b
    if (flag_in4_rising_b_tim1 == 1&& D!=0)
    {
      if (counter_out4b_tim1_before < D / 10)
      {
        HAL_GPIO_WritePin(out4b_GPIO_Port, out4b_Pin, 1);
      }
      if (counter_out4b_tim1_before == D / 10)
      {
        HAL_GPIO_WritePin(out4b_GPIO_Port, out4b_Pin, 0);
        counter_out4b_tim1_before = UINT16_MAX;
        flag_in4_rising_b_tim1 = 0;
      }
      counter_out4b_tim1_before++;
    }
    if (flag_in4_falling_b_tim1 == 1 && D!=0)
    {
      if (counter_out4b_tim1_after < D / 10)
      {
        HAL_GPIO_WritePin(out4b_GPIO_Port, out4b_Pin, 0);
      }
      if (counter_out4b_tim1_after >= D / 10 && counter_out4b_tim1_after < (D + B) / 10)
      {
        HAL_GPIO_WritePin(out4b_GPIO_Port, out4b_Pin, 1);
      }
      if (counter_out4b_tim1_after >= (D + B) / 10 && counter_out4b_tim1_after < (D + B + C) / 10)
      {
        HAL_GPIO_WritePin(out4b_GPIO_Port, out4b_Pin, 0);
      }
      if (counter_out4b_tim1_after == (D + B + C) / 10)
      {
        counter_out4b_tim1_after = D / 10;
        HAL_GPIO_WritePin(out4b_GPIO_Port, out4b_Pin, 1);
        n2_times_tim1_in4++;
      }
      counter_out4b_tim1_after++;
      if ((n2_times_tim1_in4 == n2_pa && n2_pa > 0)||(n2_pa == 0 && counter_out4b_tim1_after == D/ 10))
      {
				HAL_GPIO_WritePin(out4b_GPIO_Port, out4b_Pin, 1);
        counter_out4b_tim1_after = 0;
        n2_times_tim1_in4 = 0;
        flag_in4_falling_b_tim1 = 0;
      }
    }
  }
  //--------------------------------------------------------------------------Timer 2 pattern b
  if (htim->Instance == TIM2)
  {
    //-----------------------------------------------------------output 1a
    if (flag_in1_falling_a_tim2 == 1)
    {
      if (counter_out1a_tim2 < B1 / 10)
      {
        HAL_GPIO_WritePin(out1a_GPIO_Port, out1a_Pin, 1);
      }
      if (counter_out1a_tim2 >= B1 / 10 && counter_out1a_tim2 < (B1 + C1) / 10)
      {
        HAL_GPIO_WritePin(out1a_GPIO_Port, out1a_Pin, 0);
      }
      if (counter_out1a_tim2 >= (B1 + C1) / 10 && counter_out1a_tim2 < (B1 + C1 + B2) / 10)
      {
        HAL_GPIO_WritePin(out1a_GPIO_Port, out1a_Pin, 1);
      }
      if (counter_out1a_tim2 >= (B1 + C1 + B2) / 10 && counter_out1a_tim2 < (B1 + C1 + B2 + C1) / 10)
      {
        HAL_GPIO_WritePin(out1a_GPIO_Port, out1a_Pin, 0);
      }
      if (counter_out1a_tim2 == (B1 + C1 + B2 + C1) / 10)
      {
        counter_out1a_tim2 = (B1 + C1) / 10;
        HAL_GPIO_WritePin(out1a_GPIO_Port, out1a_Pin, 1);
        n1_times_tim2_in1++;
      }
      counter_out1a_tim2++;
      if ((n1_times_tim2_in1 == n1_pb - 1 && n1_pb >= 2)|| (n1_pb == 1 && counter_out1a_tim2 == (B1+C1)/ 10)|| n1_pb == 0)
      {
				HAL_GPIO_WritePin(out1a_GPIO_Port, out1a_Pin, 1);
        counter_out1a_tim2 = 0;
        n1_times_tim2_in1 = 0;
        flag_in1_falling_a_tim2 = 0;
      }
    }
    //-----------------------------------------------------------output 1b
    if (flag_in1_falling_b_tim2 == 1)
    {
      if (counter_out1b_tim2 < D1 / 10)
      {
        HAL_GPIO_WritePin(out1b_GPIO_Port, out1b_Pin, 1);
      }
      if (counter_out1b_tim2 >= D1 / 10 && counter_out1b_tim2 < (D1 + E) / 10)
      {
        HAL_GPIO_WritePin(out1b_GPIO_Port, out1b_Pin, 0);
      }
      if (counter_out1b_tim2 >= (D1 + E) / 10 && counter_out1b_tim2 < (B1 + C1 + D2) / 10)
      {
        HAL_GPIO_WritePin(out1b_GPIO_Port, out1b_Pin, 1);
      }
      if (counter_out1b_tim2 >= (B1 + C1 + D2) / 10 && counter_out1b_tim2 < (B1 + C1 + D2 + C2) / 10)
      {
        HAL_GPIO_WritePin(out1b_GPIO_Port, out1b_Pin, 0);
      }
      if (counter_out1b_tim2 >= (B1 + C1 + D2 + C2) / 10 && counter_out1b_tim2 < (B1 + C1 + B2 + C1 + D2) / 10)
      {
        HAL_GPIO_WritePin(out1b_GPIO_Port, out1b_Pin, 1);
      }
      if (counter_out1b_tim2 >= (B1 + C1 + B2 + C1 + D2) / 10 && counter_out1b_tim2 < (B1 + C1 + B2 + C1 + D2 + C2) / 10)
      {
        HAL_GPIO_WritePin(out1b_GPIO_Port, out1b_Pin, 0);
      }
      if (counter_out1b_tim2 == (B1 + C1 + B2 + C1 + D2 + C2) / 10)
      {
        counter_out1b_tim2 = (B1 + C1 + D2 + C2) / 10;
        n2_times_tim2_in1++;
        HAL_GPIO_WritePin(out1b_GPIO_Port, out1b_Pin, 1);
      }
      counter_out1b_tim2++;
      if ((n2_times_tim2_in1 == n2_pb - 1 && n2_pb >=2)|| (counter_out1b_tim2 == (B1+C1+D2+C2)/ 10 && n2_pb == 1 ) || (n2_pb == 0 && counter_out1b_tim2 == (D1+E)/ 10))
      {
				HAL_GPIO_WritePin(out1b_GPIO_Port, out1b_Pin, 1);
        counter_out1b_tim2 = 0;
        n2_times_tim2_in1 = 0;
        flag_in1_falling_b_tim2 = 0;
      }
    }
    //-----------------------------------------------------------output 2a
    if (flag_in2_falling_a_tim2 == 1)
    {
      if (counter_out2a_tim2 < B1 / 10)
      {
        HAL_GPIO_WritePin(out2a_GPIO_Port, out2a_Pin, 1);
      }
      if (counter_out2a_tim2 >= B1 / 10 && counter_out2a_tim2 < (B1 + C1) / 10)
      {
        HAL_GPIO_WritePin(out2a_GPIO_Port, out2a_Pin, 0);
      }
      if (counter_out2a_tim2 >= (B1 + C1) / 10 && counter_out2a_tim2 < (B1 + C1 + B2) / 10)
      {
        HAL_GPIO_WritePin(out2a_GPIO_Port, out2a_Pin, 1);
      }
      if (counter_out2a_tim2 >= (B1 + C1 + B2) / 10 && counter_out2a_tim2 < (B1 + C1 + B2 + C1) / 10)
      {
        HAL_GPIO_WritePin(out2a_GPIO_Port, out2a_Pin, 0);
      }
      if (counter_out2a_tim2 == (B1 + C1 + B2 + C1) / 10)
      {
        counter_out2a_tim2 = (B1 + C1) / 10;
        HAL_GPIO_WritePin(out2a_GPIO_Port, out2a_Pin, 1);
        n1_times_tim2_in2++;
      }
      counter_out2a_tim2++;
      if ((n1_times_tim2_in2 == n1_pb - 1 && n1_pb >= 2)|| (n1_pb == 1 && counter_out2a_tim2 == (B1+C1)/ 10)|| n1_pb == 0)
      {
        HAL_GPIO_WritePin(out2a_GPIO_Port, out2a_Pin, 1);
				counter_out2a_tim2 = 0;
        n1_times_tim2_in2 = 0;
        flag_in2_falling_a_tim2 = 0;
      }
    }
    //-----------------------------------------------------------output 2b
    if (flag_in2_falling_b_tim2 == 1)
    {
      if (counter_out2b_tim2 < D1 / 10)
      {
        HAL_GPIO_WritePin(out2b_GPIO_Port, out2b_Pin, 1);
      }
      if (counter_out2b_tim2 >= D1 / 10 && counter_out2b_tim2 < (D1 + E) / 10)
      {
        HAL_GPIO_WritePin(out2b_GPIO_Port, out2b_Pin, 0);
      }
      if (counter_out2b_tim2 >= (D1 + E) / 10 && counter_out2b_tim2 < (B1 + C1 + D2) / 10)
      {
        HAL_GPIO_WritePin(out2b_GPIO_Port, out2b_Pin, 1);
      }
      if (counter_out2b_tim2 >= (B1 + C1 + D2) / 10 && counter_out2b_tim2 < (B1 + C1 + D2 + C2) / 10)
      {
        HAL_GPIO_WritePin(out2b_GPIO_Port, out2b_Pin, 0);
      }
      if (counter_out2b_tim2 >= (B1 + C1 + D2 + C2) / 10 && counter_out2b_tim2 < (B1 + C1 + B2 + C1 + D2) / 10)
      {
        HAL_GPIO_WritePin(out2b_GPIO_Port, out2b_Pin, 1);
      }
      if (counter_out2b_tim2 >= (B1 + C1 + B2 + C1 + D2) / 10 && counter_out2b_tim2 < (B1 + C1 + B2 + C1 + D2 + C2) / 10)
      {
        HAL_GPIO_WritePin(out2b_GPIO_Port, out2b_Pin, 0);
      }
      if (counter_out2b_tim2 == (B1 + C1 + B2 + C1 + D2 + C2) / 10)
      {
        counter_out2b_tim2 = (B1 + C1 + D2 + C2) / 10;
        n2_times_tim2_in2++;
        HAL_GPIO_WritePin(out2b_GPIO_Port, out2b_Pin, 1);
      }

      counter_out2b_tim2++;
      if ((n2_times_tim2_in2 == n2_pb - 1 && n2_pb >=2)|| (counter_out2b_tim2 == (B1+C1+D2+C2)/ 10 && n2_pb == 1)|| (n2_pb == 0 && counter_out2b_tim2 == (D1+E)/ 10))
      {
				HAL_GPIO_WritePin(out2b_GPIO_Port, out2b_Pin, 1);
        counter_out2b_tim2 = 0;
        n2_times_tim2_in2 = 0;
        flag_in2_falling_b_tim2 = 0;
      }
    }
    //-----------------------------------------------------------output 3a
    if (flag_in3_falling_a_tim2 == 1)
    {
      if (counter_out3a_tim2 < B1 / 10)
      {
        HAL_GPIO_WritePin(out3a_GPIO_Port, out3a_Pin, 1);
      }
      if (counter_out3a_tim2 >= B1 / 10 && counter_out3a_tim2 < (B1 + C1) / 10)
      {
        HAL_GPIO_WritePin(out3a_GPIO_Port, out3a_Pin, 0);
      }
      if (counter_out3a_tim2 >= (B1 + C1) / 10 && counter_out3a_tim2 < (B1 + C1 + B2) / 10)
      {
        HAL_GPIO_WritePin(out3a_GPIO_Port, out3a_Pin, 1);
      }
      if (counter_out3a_tim2 >= (B1 + C1 + B2) / 10 && counter_out3a_tim2 < (B1 + C1 + B2 + C1) / 10)
      {
        HAL_GPIO_WritePin(out3a_GPIO_Port, out3a_Pin, 0);
      }
      if (counter_out3a_tim2 == (B1 + C1 + B2 + C1) / 10)
      {
        counter_out3a_tim2 = (B1 + C1) / 10;
        HAL_GPIO_WritePin(out3a_GPIO_Port, out3a_Pin, 1);
        n1_times_tim2_in3++;
      }
      counter_out3a_tim2++;
      if ((n1_times_tim2_in3 == n1_pb - 1 && n1_pb >= 2)|| (n1_pb == 1 && counter_out3a_tim2 == (B1+C1)/ 10) || n1_pb == 0)
      {
				HAL_GPIO_WritePin(out3a_GPIO_Port, out3a_Pin, 1);
        counter_out3a_tim2 = 0;
        n1_times_tim2_in3 = 0;
        flag_in3_falling_a_tim2 = 0;
      }
    }
    //-----------------------------------------------------------output 3b
    if (flag_in3_falling_b_tim2 == 1)
    {
      if (counter_out3b_tim2 < D1 / 10)
      {
        HAL_GPIO_WritePin(out3b_GPIO_Port, out3b_Pin, 1);
      }
      if (counter_out3b_tim2 >= D1 / 10 && counter_out3b_tim2 < (D1 + E) / 10)
      {
        HAL_GPIO_WritePin(out3b_GPIO_Port, out3b_Pin, 0);
      }
      if (counter_out3b_tim2 >= (D1 + E) / 10 && counter_out3b_tim2 < (B1 + C1 + D2) / 10)
      {
        HAL_GPIO_WritePin(out3b_GPIO_Port, out3b_Pin, 1);
      }
      if (counter_out3b_tim2 >= (B1 + C1 + D2) / 10 && counter_out3b_tim2 < (B1 + C1 + D2 + C2) / 10)
      {
        HAL_GPIO_WritePin(out3b_GPIO_Port, out3b_Pin, 0);
      }
      if (counter_out3b_tim2 >= (B1 + C1 + D2 + C2) / 10 && counter_out3b_tim2 < (B1 + C1 + B2 + C1 + D2) / 10)
      {
        HAL_GPIO_WritePin(out3b_GPIO_Port, out3b_Pin, 1);
      }
      if (counter_out3b_tim2 >= (B1 + C1 + B2 + C1 + D2) / 10 && counter_out3b_tim2 < (B1 + C1 + B2 + C1 + D2 + C2) / 10)
      {
        HAL_GPIO_WritePin(out3b_GPIO_Port, out3b_Pin, 0);
      }
      if (counter_out3b_tim2 == (B1 + C1 + B2 + C1 + D2 + C2) / 10)
      {
        counter_out3b_tim2 = (B1 + C1 + D2 + C2) / 10;
        n2_times_tim2_in3++;
        HAL_GPIO_WritePin(out3b_GPIO_Port, out3b_Pin, 1);
      }

      counter_out3b_tim2++;
      if ((n2_times_tim2_in3 == n2_pb - 1 && n2_pb >=2)|| (counter_out3b_tim2 == (B1+C1+D2+C2)/ 10 && n2_pb == 1) || (n2_pb == 0 && counter_out3b_tim2 == (D1+E)/ 10))
      {
				HAL_GPIO_WritePin(out3b_GPIO_Port, out3b_Pin, 1);
        counter_out3b_tim2 = 0;
        n2_times_tim2_in3 = 0;
        flag_in3_falling_b_tim2 = 0;
      }
    }
    //-----------------------------------------------------------output 4a
    if (flag_in4_falling_a_tim2 == 1)
    {
      if (counter_out4a_tim2 < B1 / 10)
      {
        HAL_GPIO_WritePin(out4a_GPIO_Port, out4a_Pin, 1);
      }
      if (counter_out4a_tim2 >= B1 / 10 && counter_out4a_tim2 < (B1 + C1) / 10)
      {
        HAL_GPIO_WritePin(out4a_GPIO_Port, out4a_Pin, 0);
      }
      if (counter_out4a_tim2 >= (B1 + C1) / 10 && counter_out4a_tim2 < (B1 + C1 + B2) / 10)
      {
        HAL_GPIO_WritePin(out4a_GPIO_Port, out4a_Pin, 1);
      }
      if (counter_out4a_tim2 >= (B1 + C1 + B2) / 10 && counter_out4a_tim2 < (B1 + C1 + B2 + C1) / 10)
      {
        HAL_GPIO_WritePin(out4a_GPIO_Port, out4a_Pin, 0);
      }
      if (counter_out4a_tim2 == (B1 + C1 + B2 + C1) / 10)
      {
        counter_out4a_tim2 = (B1 + C1) / 10;
        HAL_GPIO_WritePin(out4a_GPIO_Port, out4a_Pin, 1);
        n1_times_tim2_in4++;
      }
      counter_out4a_tim2++;
       if ((n1_times_tim2_in4 == n1_pb - 1 && n1_pb >= 2)|| (n1_pb == 1 && counter_out4a_tim2 == (B1+C1)/ 10) || n1_pb == 0)
      {
				HAL_GPIO_WritePin(out4a_GPIO_Port, out4a_Pin, 1);
        counter_out4a_tim2 = 0;
        n1_times_tim2_in4 = 0;
        flag_in4_falling_a_tim2 = 0;
      }
    }
    //-----------------------------------------------------------output 4b
    if (flag_in4_falling_b_tim2 == 1)
    {
      if (counter_out4b_tim2 < D1 / 10)
      {
        HAL_GPIO_WritePin(out4b_GPIO_Port, out4b_Pin, 1);
      }
      if (counter_out4b_tim2 >= D1 / 10 && counter_out4b_tim2 < (D1 + E) / 10)
      {
        HAL_GPIO_WritePin(out4b_GPIO_Port, out4b_Pin, 0);
      }
      if (counter_out4b_tim2 >= (D1 + E) / 10 && counter_out4b_tim2 < (B1 + C1 + D2) / 10)
      {
        HAL_GPIO_WritePin(out4b_GPIO_Port, out4b_Pin, 1);
      }
      if (counter_out4b_tim2 >= (B1 + C1 + D2) / 10 && counter_out4b_tim2 < (B1 + C1 + D2 + C2) / 10)
      {
        HAL_GPIO_WritePin(out4b_GPIO_Port, out4b_Pin, 0);
      }
      if (counter_out4b_tim2 >= (B1 + C1 + D2 + C2) / 10 && counter_out4b_tim2 < (B1 + C1 + B2 + C1 + D2) / 10)
      {
        HAL_GPIO_WritePin(out4b_GPIO_Port, out4b_Pin, 1);
      }
      if (counter_out4b_tim2 >= (B1 + C1 + B2 + C1 + D2) / 10 && counter_out4b_tim2 < (B1 + C1 + B2 + C1 + D2 + C2) / 10)
      {
        HAL_GPIO_WritePin(out4b_GPIO_Port, out4b_Pin, 0);
      }
      if (counter_out4b_tim2 == (B1 + C1 + B2 + C1 + D2 + C2) / 10)
      {
       counter_out4b_tim2 = (B1 + C1 + D2 + C2) / 10;
        n2_times_tim2_in4++;
        HAL_GPIO_WritePin(out4b_GPIO_Port, out4b_Pin, 1);
      }
      counter_out4b_tim2++;
      if ((n2_times_tim2_in4 == n2_pb - 1 && n2_pb >=2)|| (counter_out4b_tim2 == (B1+C1+D2+C2)/ 10 && n2_pb == 1) || (n2_pb == 0 && counter_out4b_tim2 == (D1+E)/ 10) )
      {
				HAL_GPIO_WritePin(out4b_GPIO_Port, out4b_Pin, 1);
        counter_out4b_tim2 = 0;
        n2_times_tim2_in4 = 0;
        flag_in4_falling_b_tim2 = 0;
      }
    }
  }
}
/* USER CODE END 4 */

void _Error_Handler(char *file, int line)
{
  while (1)
  {
  }
}

/************************ (C) COPYRIGHT STMicroelectronics *****END OF FILE****/
